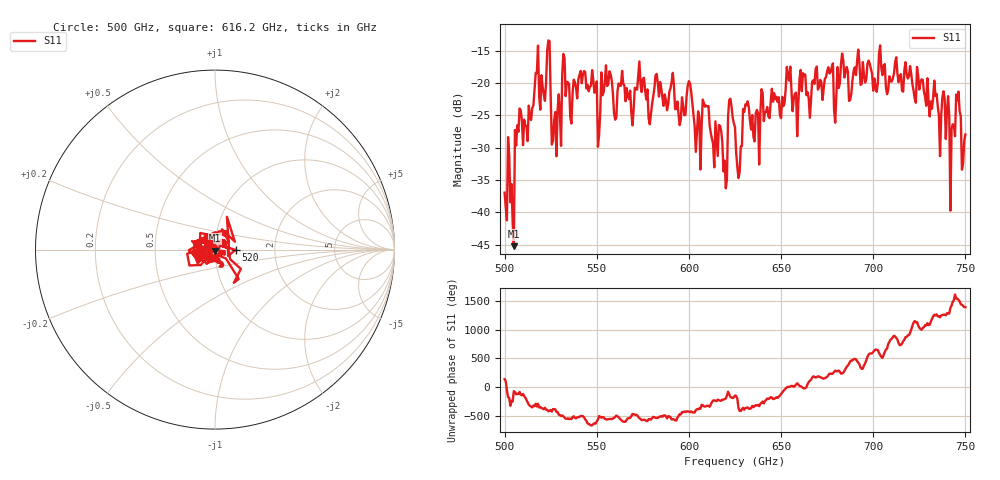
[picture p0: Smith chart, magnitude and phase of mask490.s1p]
!Created with skrf (http://scikit-rf.org).
# GHz S MA R 50.0
!freq magS11 angS11
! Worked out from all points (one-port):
!   401 points, 500 GHz to 750 GHz, reference 50 ohm
!   lowest |S11| = -45.2 dB at 505 GHz (marker M1), VSWR 1.01, Z = 50.2 - j0.519 ohm
!   |S11| at or under -10 dB: start of sweep to end of sweep
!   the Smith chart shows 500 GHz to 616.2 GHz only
!   S11 on the Smith chart (normalised r, x): 500 GHz: 0.98, +0.02; 520 GHz: 1.26, -0.01; 616.2 GHz: 0.93, +0.06
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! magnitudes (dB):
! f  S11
! 500 GHz  -37.0
! 505 GHz  -45.2
! 508.1 GHz  -24.0
! 520 GHz  -18.8
! 523.8 GHz  -13.4
! 526.9 GHz  -25.8
! 531.2 GHz  -18.7
! 542.5 GHz  -18.7
! 550.6 GHz  -29.9
! 562.5 GHz  -20.4
! 593.8 GHz  -22.9
! 600 GHz  -19.7
! 605 GHz  -24.4
! 608.8 GHz  -23.7
! 616.2 GHz  -26.5
! 619.4 GHz  -32.0
! 622.5 GHz  -22.4
! 625 GHz  -26.8
! 626.9 GHz  -34.7
! 630.6 GHz  -23.3
! 636.9 GHz  -24.2
! 656.2 GHz  -24.4
! 687.5 GHz  -22.6
! 718.8 GHz  -19.3
! 739.4 GHz  -28.7
! 743.1 GHz  -26.4
! 746.2 GHz  -21.4
! 750 GHz  -28.0
